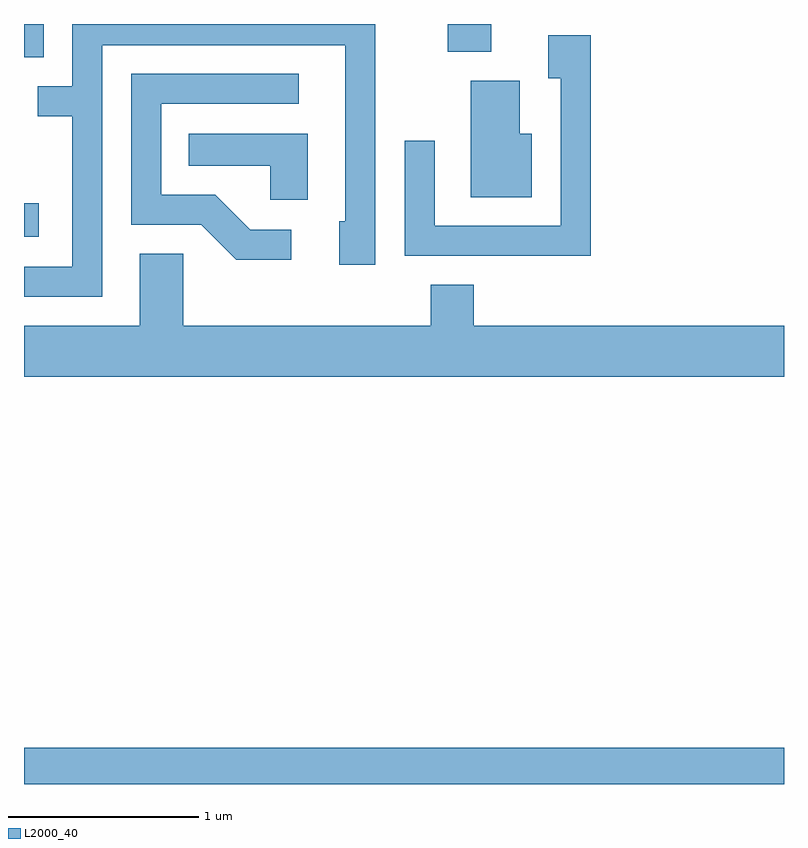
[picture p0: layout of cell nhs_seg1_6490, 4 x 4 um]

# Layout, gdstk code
import gdstk
lib = gdstk.Library(unit=1e-6, precision=1e-09)
def R(c, l, rs):  # rectangles x0, y0, x1, y1
    for r in rs: c.add(gdstk.rectangle(r[:2], r[2:], *l))
def P(c, l, *ps):  # polygons
    for p in ps: c.add(gdstk.Polygon(p, *l))
L2000_40 = (2000, 40)

nhs_seg1_6490 = lib.new_cell('nhs_seg1_6490')
R(nhs_seg1_6490, L2000_40, [(381.611,839.712,385.611,839.904), (381.611,842.591,381.689,842.769), (381.611,843.536,381.714,843.712), (383.841,843.566,384.069,843.712)])
P(nhs_seg1_6490, L2000_40, [(382.024,843.601),(383.301,843.601),(383.301,842.674),(383.271,842.674),(383.271,842.446),(383.459,842.446),(383.459,843.712),(381.866,843.712),(381.866,843.384),(381.683,843.384),(381.683,843.226),(381.866,843.226),(381.866,842.434),(381.611,842.434),(381.611,842.276),(382.024,842.276)],
  [(384.594,843.654),(384.371,843.654),(384.371,843.426),(384.436,843.426),(384.436,842.649),(383.774,842.649),(383.774,843.098),(383.616,843.098),(383.616,842.491),(384.594,842.491)],
  [(383.018,842.629),(382.802,842.629),(382.617,842.814),(382.334,842.814),(382.334,843.291),(383.058,843.291),(383.058,843.449),(382.176,843.449),(382.176,842.656),(382.544,842.656),(382.729,842.471),(383.018,842.471)],
  [(384.284,843.134),(384.219,843.134),(384.219,843.414),(383.961,843.414),(383.961,842.801),(384.284,842.801)],
  [(383.104,843.134),(382.478,843.134),(382.478,842.966),(382.906,842.966),(382.906,842.786),(383.104,842.786)],
  [(385.611,842.124),(383.979,842.124),(383.979,842.339),(383.751,842.339),(383.751,842.124),(382.449,842.124),(382.449,842.504),(382.221,842.504),(382.221,842.124),(381.611,842.124),(381.611,841.856),(385.611,841.856)])

lib.write_gds('nhs_seg1_6490.gds')
